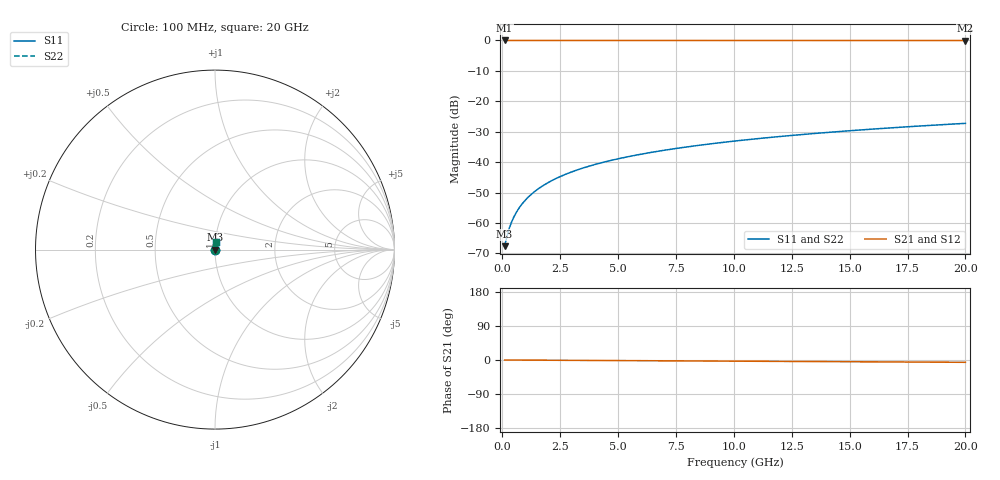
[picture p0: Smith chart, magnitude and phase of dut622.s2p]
! Touchstone file exported from HFSS 2026.1.0
!  File:  C:/ffzhzh/LocalFiles/Ansys_Project_Files/temp_train_TSV_622_1783025975_46388.aedt
!  Generated:  05:02:03 AM Jul  3, 2026
!  Design:  TSV
!  Project:  temp_train_TSV_622_1783025975_46388
! Variables:
!  h_bsmrdl = 2um
!  h_ox = 20um
!  h_rdl = 5um
!  h_sub = 52.81um
!  h_tmrdl = 5um
!  h_tsv = 52.81um
!  h_via = 3um
!  l_bsmrdl = 300um
!  l_sub = 409.02um
!  l_tmrdl = 200um
!  m_sub = 200um
!  pitch = 33.15um
!  r_tsv = 4.51um
!  s_tmrdl = 10um
!  w_bsmrdl = 18um
!  w_sub = 500um
!  w_tmrdl = 12um
!  x_tsv_center1 = 206um
!  x_tsv_center2 = 524um
!  x_tsv_center3 = 736um
!  x_tsv_center4 = 1054um
!  x_tsv_center5 = 1266um
!  x_tsv_center6 = 1584um
# GHz S MA R 50.000000
! Terminal data exported
! Port[1] = TSV1_1_T1
! Port[2] = TSV1_1_T2
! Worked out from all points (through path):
!   200 points, 100 MHz to 20 GHz, reference 50 ohm
!   highest |S21| = 0.00 dB at 100 MHz (marker M1); lowest = 0.0 dB at 20 GHz (marker M2)
!   lowest |S11| = -67.6 dB at 100 MHz (marker M3), VSWR 1.00, Z = 50 + j0.025 ohm
!   |S11| at or under -10 dB: start of sweep to end of sweep
!   |S22| runs from -67.6 to -27.2 dB; largest |S21 - S12| = 2.2e-15
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0.1  0.0004163 36.9  0.9997 -0.0  0.9997 -0.0  0.0004163 36.9
! Gamma 0 0 0 0
! Port Impedance 50 0 50 0
0.2  0.0006027 55.1  0.9997 -0.1  0.9997 -0.1  0.0006027 55.1
0.3  0.000816 64.0  0.9996 -0.1  0.9996 -0.1  0.000816 64.0
0.4  0.001036 69.0  0.9996 -0.1  0.9996 -0.1  0.001036 69.0
0.5  0.001258 72.3  0.9996 -0.2  0.9996 -0.2  0.001258 72.3
0.6  0.001482 74.6  0.9996 -0.2  0.9996 -0.2  0.001482 74.6
0.8  0.001932 77.7  0.9996 -0.3  0.9996 -0.3  0.001932 77.7
1.1  0.002612 80.3  0.9996 -0.3  0.9996 -0.3  0.002612 80.3
1.3  0.003068 81.4  0.9996 -0.4  0.9996 -0.4  0.003068 81.4
1.6  0.003752 82.4  0.9995 -0.5  0.9995 -0.5  0.003752 82.4
2.1  0.004889 83.4  0.9995 -0.7  0.9995 -0.7  0.00489 83.4
2.7  0.006247 84.0  0.9994 -0.8  0.9994 -0.8  0.006247 84.0
3.5  0.00804 84.3  0.9993 -1.1  0.9993 -1.1  0.00804 84.3
4.2  0.009593 84.4  0.9992 -1.3  0.9992 -1.3  0.009593 84.4
5  0.01135 84.4  0.9991 -1.5  0.9991 -1.5  0.01135 84.4
5.9  0.01332 84.4  0.999 -1.8  0.999 -1.8  0.01332 84.4
6.8  0.01527 84.3  0.9989 -2.1  0.9989 -2.1  0.01527 84.3
8.3  0.0185 84.2  0.9988 -2.6  0.9988 -2.6  0.0185 84.2
10.1  0.02236 83.9  0.9986 -3.1  0.9986 -3.1  0.02236 83.9
13.4  0.02942 83.3  0.9982 -4.1  0.9982 -4.1  0.02942 83.3
16.7  0.03645 82.6  0.9978 -5.1  0.9978 -5.1  0.03645 82.6
20  0.04344 81.7  0.9974 -6.1  0.9974 -6.1  0.04344 81.7
